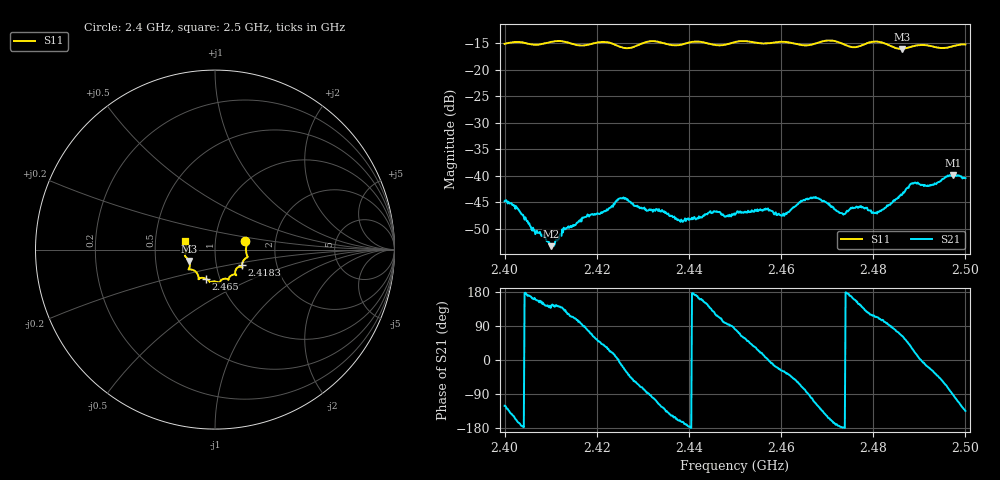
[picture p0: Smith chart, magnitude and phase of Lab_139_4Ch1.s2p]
# Hz S RI R 50
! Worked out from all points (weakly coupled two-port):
!   601 points, 2.4 GHz to 2.5 GHz, reference 50 ohm
!   highest |S21| = -39.86 dB at 2.4973 GHz (marker M1); lowest = -53.3 dB at 2.4102 GHz (marker M2)
!   lowest |S11| = -16.1 dB at 2.4862 GHz (marker M3), VSWR 1.37, Z = 37.2 - j4.85 ohm
!   |S11| at or under -10 dB: start of sweep to end of sweep
!   S12 and S22 are empty: the file has one direction only
!   S11 on the Smith chart (normalised r, x): 2.4 GHz: 1.40, +0.13; 2.4183 GHz: 1.33, -0.24; 2.465 GHz: 0.86, -0.29; 2.5 GHz: 0.71, +0.07
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2.4e9  0.1695 0.0458  -0.00293 -0.00492  0 0  0 0
2.410167e9  0.1798 -0.0354  -0.00174 0.00127  0 0  0 0
2.413e9  0.1792 -0.0433  -0.00204 0.0024  0 0  0 0
2.416667e9  0.1548 -0.0683  -0.000359 0.00367  0 0  0 0
2.418333e9  0.1498 -0.0871  0.00102 0.00398  0 0  0 0
2.425333e9  0.1311 -0.0969  0.00593 -0.00142  0 0  0 0
2.433333e9  0.1174 -0.141  -0.00195 -0.00421  0 0  0 0
2.438333e9  0.0806 -0.1523  -0.00367 -0.00115  0 0  0 0
2.45e9  0.0256 -0.1809  0.000658 0.00422  0 0  0 0
2.456667e9  -0.00691 -0.1769  0.00486 0.000539  0 0  0 0
2.460333e9  -0.0283 -0.1816  0.0037 -0.00208  0 0  0 0
2.465e9  -0.0524 -0.1618  0.00134 -0.00576  0 0  0 0
2.466667e9  -0.0713 -0.1575  -0.0011 -0.00601  0 0  0 0
2.473333e9  -0.0922 -0.1497  -0.00438 -0.00013  0 0  0 0
2.476833e9  -0.1197 -0.1147  -0.00422 0.0027  0 0  0 0
2.480667e9  -0.148 -0.1105  -0.00184 0.0041  0 0  0 0
2.483333e9  -0.1411 -0.0964  -0.000321 0.00526  0 0  0 0
2.486167e9  -0.1439 -0.0636  0.00283 0.00588  0 0  0 0
2.488667e9  -0.1613 -0.0428  0.00752 0.00376  0 0  0 0
2.4925e9  -0.1655 -0.0243  0.00733 -0.00339  0 0  0 0
2.497333e9  -0.1644 0.0305  -0.000325 -0.0102  0 0  0 0
2.5e9  -0.167 0.0463  -0.00663 -0.00676  0 0  0 0
